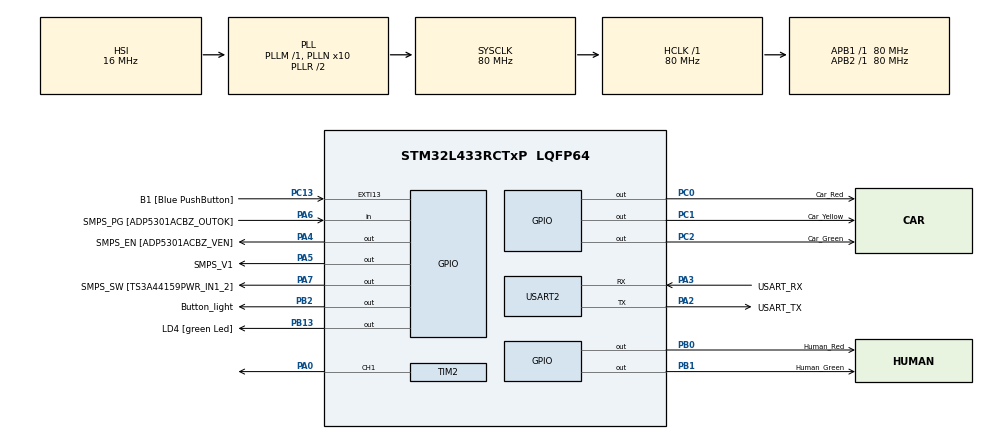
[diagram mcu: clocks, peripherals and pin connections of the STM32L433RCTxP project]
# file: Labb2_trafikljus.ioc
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Mcu.Family=STM32L4
Mcu.Name=STM32L433RCTxP
Mcu.Package=LQFP64
NVIC.EXTI15_10_IRQn=true\:0\:0\:false\:false\:true\:true\:true\:true
NVIC.PriorityGroup=NVIC_PRIORITYGROUP_4
PA0.Signal=S_TIM2_CH1
PA13\ (JTMS-SWDIO).GPIO_Label=TMS
PA13\ (JTMS-SWDIO).Mode=Serial_Wire
PA13\ (JTMS-SWDIO).Signal=SYS_JTMS-SWDIO
PA14\ (JTCK-SWCLK).GPIO_Label=TCK
PA14\ (JTCK-SWCLK).Mode=Serial_Wire
PA14\ (JTCK-SWCLK).Signal=SYS_JTCK-SWCLK
PA2.GPIO_Label=USART_TX
PA2.GPIO_Mode=GPIO_MODE_AF_PP
PA2.GPIO_PuPd=GPIO_NOPULL
PA2.GPIO_Speed=GPIO_SPEED_FREQ_VERY_HIGH
PA2.Mode=Asynchronous
PA2.Signal=USART2_TX
PA3.GPIO_Label=USART_RX
PA3.GPIO_Mode=GPIO_MODE_AF_PP
PA3.GPIO_PuPd=GPIO_NOPULL
PA3.GPIO_Speed=GPIO_SPEED_FREQ_VERY_HIGH
PA3.Mode=Asynchronous
PA3.Signal=USART2_RX
PA4.GPIO_Label=SMPS_EN [ADP5301ACBZ_VEN]
PA4.Signal=GPIO_Output
PA5.GPIO_Label=SMPS_V1
PA5.GPIO_ModeDefaultOutputPP=GPIO_MODE_OUTPUT_PP
PA5.GPIO_PuPd=GPIO_NOPULL
PA5.GPIO_Speed=GPIO_SPEED_FREQ_LOW
PA5.Signal=GPIO_Output
PA6.GPIO_Label=SMPS_PG [ADP5301ACBZ_OUTOK]
PA6.GPIO_PuPd=GPIO_PULLUP
PA6.Signal=GPIO_Input
PA7.GPIO_Label=SMPS_SW [TS3A44159PWR_IN1_2]
PA7.Signal=GPIO_Output
PB0.GPIO_Label=Human_Red
PB0.Signal=GPIO_Output
PB1.GPIO_Label=Human_Green
PB1.Signal=GPIO_Output
PB13.GPIO_Label=LD4 [green Led]
PB13.Signal=GPIO_Output
PB2.GPIO_Label=Button_light
PB2.Signal=GPIO_Output
PB3\ (JTDO-TRACESWO).GPIO_Label=SWO
PB3\ (JTDO-TRACESWO).Signal=SYS_JTDO-SWO
PC0.GPIO_Label=Car_Red
PC0.Signal=GPIO_Output
PC1.GPIO_Label=Car_Yellow
PC1.Signal=GPIO_Output
PC13.GPIO_Label=B1 [Blue PushButton]
PC13.GPIO_ModeDefaultEXTI=GPIO_MODE_IT_FALLING
PC13.GPIO_PuPd=GPIO_NOPULL
PC13.Signal=GPXTI13
PC14-OSC32_IN\ (PC14).Mode=LSE-External-Oscillator
PC14-OSC32_IN\ (PC14).Signal=RCC_OSC32_IN
PC15-OSC32_OUT\ (PC15).Mode=LSE-External-Oscillator
PC15-OSC32_OUT\ (PC15).Signal=RCC_OSC32_OUT
PC2.GPIO_Label=Car_Green
PC2.Signal=GPIO_Output
PH0-OSC_IN\ (PH0).GPIO_Label=MCO
PH0-OSC_IN\ (PH0).Mode=HSE-External-Clock-Source
PH0-OSC_IN\ (PH0).Signal=RCC_OSC_IN
PH1-OSC_OUT\ (PH1).Signal=RCC_OSC_OUT
ProjectManager.HeapSize=0x200
ProjectManager.StackSize=0x400
ProjectManager.TargetToolchain=STM32CubeIDE
RCC.ADCFreq_Value=64000000
RCC.AHBFreq_Value=80000000
RCC.APB1Freq_Value=80000000
RCC.APB1TimFreq_Value=80000000
RCC.APB2Freq_Value=80000000
RCC.APB2TimFreq_Value=80000000
RCC.CortexFreq_Value=80000000
RCC.HCLKFreq_Value=80000000
RCC.HSE_VALUE=8000000
RCC.HSI48_VALUE=48000000
RCC.HSI_VALUE=16000000
RCC.MSI_VALUE=4000000
RCC.PLLN=10
RCC.PLLSourceVirtual=RCC_PLLSOURCE_HSI
RCC.PREFETCH_ENABLE=1
RCC.SYSCLKFreq_VALUE=80000000
RCC.SYSCLKSource=RCC_SYSCLKSOURCE_PLLCLK
RCC.USBFreq_Value=64000000
RCC.VCOOutputFreq_Value=160000000
SH.S_TIM2_CH1.0=TIM2_CH1,PWM Generation1 CH1
TIM2.Channel-PWM\ Generation1\ CH1=TIM_CHANNEL_1
USART2.VirtualMode-Asynchronous=VM_ASYNC
VP_TIM2_VS_ClockSourceINT.Mode=Internal
board=NUCLEO-L433RC-P

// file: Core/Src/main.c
/* USER CODE BEGIN Header */
/**
 ******************************************************************************
 * @file           : main.c
 * @brief          : Main program body
 ******************************************************************************
 * @attention
 *
 * Copyright (c) 2025 STMicroelectronics.
 * All rights reserved.
 *
 * This software is licensed under terms that can be found in the LICENSE file
 * in the root directory of this software component.
 * If no LICENSE file comes with this software, it is provided AS-IS.
 *
 ******************************************************************************
 */
/* USER CODE END Header */
#include "main.h"

/* USER CODE BEGIN Includes */
#include "abuzz.h"
/* USER CODE END Includes */

/* USER CODE BEGIN PTD */
enum event {
	ev_none, ev_button_push, ev_state_timeout, ev_error = -99
};
#define EVQ_SIZE 10
enum event evq[ EVQ_SIZE ];
int evq_count = 0;
int evq_front_ix = 0;
int evq_rear_ix = 0;
enum state{
	s_init, s_car_go, s_pushed_wait, s_cars_stopping, s_all_stop,
	s_humans_go, s_stop_after_humans, s_start_go
};
/* USER CODE END PTD */

TIM_HandleTypeDef htim2;

UART_HandleTypeDef huart2;

void SystemClock_Config(void);
static void MX_GPIO_Init(void);
static void MX_USART2_UART_Init(void);
static void MX_TIM2_Init(void);
/* USER CODE BEGIN PFP */
uint32_t tick_left_in_state = 0;
void set_traffic_lights(enum state s){
	switch(s){
	case s_car_go:
		HAL_GPIO_WritePin(Car_Red_GPIO_Port, Car_Red_Pin, GPIO_PIN_RESET);
		HAL_GPIO_WritePin(Car_Yellow_GPIO_Port, Car_Yellow_Pin, GPIO_PIN_RESET);
		HAL_GPIO_WritePin(Car_Green_GPIO_Port, Car_Green_Pin, GPIO_PIN_SET);
		HAL_GPIO_WritePin(Human_Red_GPIO_Port, Car_Red_Pin, GPIO_PIN_SET);
		HAL_GPIO_WritePin(Human_Green_GPIO_Port, Human_Green_Pin, GPIO_PIN_RESET);
		break;
	case s_pushed_wait:
		HAL_GPIO_WritePin(Car_Red_GPIO_Port, Car_Red_Pin, GPIO_PIN_RESET);
		HAL_GPIO_WritePin(Car_Yellow_GPIO_Port, Car_Yellow_Pin, GPIO_PIN_RESET);
		HAL_GPIO_WritePin(Car_Green_GPIO_Port, Car_Green_Pin, GPIO_PIN_SET);
		HAL_GPIO_WritePin(Human_Red_GPIO_Port, Car_Red_Pin, GPIO_PIN_SET);
		HAL_GPIO_WritePin(Human_Green_GPIO_Port, Human_Green_Pin, GPIO_PIN_RESET);
		HAL_GPIO_WritePin(Button_light_GPIO_Port, Button_light_Pin, GPIO_PIN_SET);
		break;
	case s_cars_stopping:
		HAL_GPIO_WritePin(Car_Red_GPIO_Port, Car_Red_Pin, GPIO_PIN_RESET);
		HAL_GPIO_WritePin(Car_Yellow_GPIO_Port, Car_Yellow_Pin, GPIO_PIN_SET);
		HAL_GPIO_WritePin(Car_Green_GPIO_Port, Car_Green_Pin, GPIO_PIN_RESET);
		HAL_GPIO_WritePin(Human_Red_GPIO_Port, Car_Red_Pin, GPIO_PIN_SET);
		HAL_GPIO_WritePin(Human_Green_GPIO_Port, Human_Green_Pin, GPIO_PIN_RESET);
		break;
	case s_all_stop:
		HAL_GPIO_WritePin(Car_Red_GPIO_Port, Car_Red_Pin, GPIO_PIN_SET);
		HAL_GPIO_WritePin(Car_Yellow_GPIO_Port, Car_Yellow_Pin, GPIO_PIN_RESET);
		HAL_GPIO_WritePin(Car_Green_GPIO_Port, Car_Green_Pin, GPIO_PIN_RESET);
		HAL_GPIO_WritePin(Human_Red_GPIO_Port, Car_Red_Pin, GPIO_PIN_SET);
		HAL_GPIO_WritePin(Human_Green_GPIO_Port, Human_Green_Pin, GPIO_PIN_RESET);
		break;
	case s_humans_go:
		HAL_GPIO_WritePin(Car_Red_GPIO_Port, Car_Red_Pin, GPIO_PIN_SET);
		HAL_GPIO_WritePin(Car_Yellow_GPIO_Port, Car_Yellow_Pin, GPIO_PIN_RESET);
		HAL_GPIO_WritePin(Car_Green_GPIO_Port, Car_Green_Pin, GPIO_PIN_RESET);
		HAL_GPIO_WritePin(Human_Red_GPIO_Port, Car_Red_Pin, GPIO_PIN_RESET);
		HAL_GPIO_WritePin(Human_Green_GPIO_Port, Human_Green_Pin, GPIO_PIN_SET);
		HAL_GPIO_WritePin(Button_light_GPIO_Port, Button_light_Pin, GPIO_PIN_RESET);
		break;
	case s_stop_after_humans:
		HAL_GPIO_WritePin(Car_Red_GPIO_Port, Car_Red_Pin, GPIO_PIN_SET);
		HAL_GPIO_WritePin(Car_Yellow_GPIO_Port, Car_Yellow_Pin, GPIO_PIN_RESET);
		HAL_GPIO_WritePin(Car_Green_GPIO_Port, Car_Green_Pin, GPIO_PIN_RESET);
		HAL_GPIO_WritePin(Human_Red_GPIO_Port, Car_Red_Pin, GPIO_PIN_SET);
		HAL_GPIO_WritePin(Human_Green_GPIO_Port, Human_Green_Pin, GPIO_PIN_RESET);
		break;
	case s_start_go:
		HAL_GPIO_WritePin(Car_Red_GPIO_Port, Car_Red_Pin, GPIO_PIN_SET);
		HAL_GPIO_WritePin(Car_Yellow_GPIO_Port, Car_Yellow_Pin, GPIO_PIN_SET);
		HAL_GPIO_WritePin(Car_Green_GPIO_Port, Car_Green_Pin, GPIO_PIN_RESET);
		HAL_GPIO_WritePin(Human_Red_GPIO_Port, Car_Red_Pin, GPIO_PIN_SET);
		HAL_GPIO_WritePin(Human_Green_GPIO_Port, Human_Green_Pin, GPIO_PIN_RESET);
		break;
	case s_init:
		HAL_GPIO_WritePin(Car_Red_GPIO_Port, Car_Red_Pin, GPIO_PIN_SET);
		HAL_GPIO_WritePin(Car_Yellow_GPIO_Port, Car_Yellow_Pin, GPIO_PIN_SET);
		HAL_GPIO_WritePin(Car_Green_GPIO_Port, Car_Green_Pin, GPIO_PIN_SET);
		HAL_GPIO_WritePin(Human_Red_GPIO_Port, Car_Red_Pin, GPIO_PIN_SET);
		HAL_GPIO_WritePin(Human_Green_GPIO_Port, Human_Green_Pin, GPIO_PIN_SET);
		break;
	}
}

void evq_push_back(enum event e){
	if(evq_count < EVQ_SIZE){
		evq[evq_rear_ix] = e;
		evq_rear_ix ++ ;
		evq_rear_ix %= EVQ_SIZE;
		evq_count ++;
	}
}
enum event evq_pop_front(){
	enum event e = ev_none;
	if(evq_count > 0){
		e = evq[evq_front_ix];
		evq[evq_front_ix] = ev_error;
		evq_front_ix ++;
		evq_front_ix %= EVQ_SIZE;
		evq_count --;
	}
	return e;
}
void push_button_light_on(){
	HAL_GPIO_WritePin(Button_light_GPIO_Port, Button_light_Pin, GPIO_PIN_SET);
}
void push_button_light_off(){
	HAL_GPIO_WritePin(Button_light_GPIO_Port, Button_light_Pin, GPIO_PIN_RESET);
}
void HAL_GPIO_EXTI_Callback( uint16_t GPIO_Pin ){
	if(GPIO_Pin == GPIO_PIN_13){
		evq_push_back(ev_button_push);
	}
}
int systick_count = 0;
void my_systick_handler(){
	systick_count++;
	if (systick_count == 1000)
	{
		HAL_GPIO_TogglePin(LD4_GPIO_Port, LD4_Pin);
		systick_count = 0;
	}
	if (tick_left_in_state > 0)
	{
		tick_left_in_state--;
		if (tick_left_in_state == 0)
		{
			evq_push_back(ev_state_timeout);
		}
	}
}

/* USER CODE END PFP */

/* USER CODE BEGIN 0 */
int is_blue_button_pressed(){
	return (GPIOC->IDR & 0x2000) != 0;
}
/* USER CODE END 0 */

int main(void)
{

	/* MCU Configuration--------------------------------------------------------*/

	/* Reset of all peripherals, Initializes the Flash interface and the Systick. */
	HAL_Init();

	/* Configure the system clock */
	SystemClock_Config();

	/* Initialize all configured peripherals */
	MX_GPIO_Init();
	MX_USART2_UART_Init();
	MX_TIM2_Init();
	/* USER CODE BEGIN 2 */
	HAL_TIM_PWM_Start(&htim2, TIM_CHANNEL_1);
	set_traffic_lights(s_init);
	/* USER CODE END 2 */

	/* Infinite loop */
	/* USER CODE BEGIN WHILE */
	enum event ev = ev_none;
	enum state st = s_init;
/*	int curr_press = 0;
	int last_press = 0;
	uint32_t curr_tick = 0;
	uint32_t last_tick = 0;*/
	while (1){
#if 0
		ev = ev_none;
		curr_press = is_blue_button_pressed();
		if(curr_press && !last_press){
			ev = ev_button_push;
		}
		last_press = curr_press;

		curr_tick = HAL_GetTick();
		if (curr_tick != last_tick)
		{
			last_tick = curr_tick;

			if (tick_left_in_state > 0)
			{
				--tick_left_in_state;
				if (tick_left_in_state == 0)
				{
					ev = ev_state_timeout;
				}
			}
		}
		#else
			ev = evq_pop_front();
		switch (st)
		{
		case s_init:
			if (ev == ev_button_push)
			{
				ev = ev_state_timeout;
				tick_left_in_state = 10000;
				set_traffic_lights(s_all_stop);
				st = s_all_stop;
			}
			break;

		case s_car_go:
			if (ev == ev_button_push)
			{
				ev = ev_none;
				tick_left_in_state = 2000;
				set_traffic_lights(s_pushed_wait);
				st = s_pushed_wait;
				abuzz_start();
				abuzz_p_short();
			}
			break;

		case s_pushed_wait:
			if (ev == ev_state_timeout)
			{
				ev = ev_none;
				tick_left_in_state = 2000;
				set_traffic_lights(s_cars_stopping);
				st = s_cars_stopping;
			}
			break;

		case s_cars_stopping:
			if (ev == ev_state_timeout)
			{
				ev = ev_none;
				tick_left_in_state = 3000;
				set_traffic_lights(s_all_stop);
				st = s_all_stop;
			}
			break;

		case s_all_stop:
			if (ev == ev_state_timeout)
			{
				ev = ev_none;
				tick_left_in_state = 10000;
				set_traffic_lights(s_humans_go);
				st = s_humans_go;
				abuzz_stop();
			}
			break;

		case s_humans_go:
			if (ev == ev_state_timeout)
			{
				ev = ev_none;
				tick_left_in_state = 3000;
				set_traffic_lights(s_stop_after_humans);
				st = s_stop_after_humans;
			}
			break;

		case s_stop_after_humans:
			if (ev == ev_state_timeout)
			{
				ev = ev_none;
				tick_left_in_state = 2000;
				set_traffic_lights(s_start_go);
				st = s_start_go;
			}
			break;

		case s_start_go:
			if (ev == ev_state_timeout)
			{
				ev = ev_none;
				st =
						tick_left_in_state = 0;
				set_traffic_lights(s_car_go);
				st = s_car_go;
			}
			break;
		}
	}
#endif
	/* USER CODE END WHILE */

}

void SystemClock_Config(void)
{
	RCC_OscInitTypeDef RCC_OscInitStruct = {0};
	RCC_ClkInitTypeDef RCC_ClkInitStruct = {0};

	/** Configure the main internal regulator output voltage
	 */
	if (HAL_PWREx_ControlVoltageScaling(PWR_REGULATOR_VOLTAGE_SCALE1) != HAL_OK)
	{
		Error_Handler();
	}

	/** Initializes the RCC Oscillators according to the specified parameters
	 * in the RCC_OscInitTypeDef structure.
	 */
	RCC_OscInitStruct.OscillatorType = RCC_OSCILLATORTYPE_HSI;
	RCC_OscInitStruct.HSIState = RCC_HSI_ON;
	RCC_OscInitStruct.HSICalibrationValue = RCC_HSICALIBRATION_DEFAULT;
	RCC_OscInitStruct.PLL.PLLState = RCC_PLL_ON;
	RCC_OscInitStruct.PLL.PLLSource = RCC_PLLSOURCE_HSI;
	RCC_OscInitStruct.PLL.PLLM = 1;
	RCC_OscInitStruct.PLL.PLLN = 10;
	RCC_OscInitStruct.PLL.PLLP = RCC_PLLP_DIV7;
	RCC_OscInitStruct.PLL.PLLQ = RCC_PLLQ_DIV2;
	RCC_OscInitStruct.PLL.PLLR = RCC_PLLR_DIV2;
	if (HAL_RCC_OscConfig(&RCC_OscInitStruct) != HAL_OK)
	{
		Error_Handler();
	}

	/** Initializes the CPU, AHB and APB buses clocks
	 */
	RCC_ClkInitStruct.ClockType = RCC_CLOCKTYPE_HCLK|RCC_CLOCKTYPE_SYSCLK
			|RCC_CLOCKTYPE_PCLK1|RCC_CLOCKTYPE_PCLK2;
	RCC_ClkInitStruct.SYSCLKSource = RCC_SYSCLKSOURCE_PLLCLK;
	RCC_ClkInitStruct.AHBCLKDivider = RCC_SYSCLK_DIV1;
	RCC_ClkInitStruct.APB1CLKDivider = RCC_HCLK_DIV1;
	RCC_ClkInitStruct.APB2CLKDivider = RCC_HCLK_DIV1;

	if (HAL_RCC_ClockConfig(&RCC_ClkInitStruct, FLASH_LATENCY_4) != HAL_OK)
	{
		Error_Handler();
	}
}

static void MX_TIM2_Init(void)
{

	TIM_ClockConfigTypeDef sClockSourceConfig = {0};
	TIM_MasterConfigTypeDef sMasterConfig = {0};
	TIM_OC_InitTypeDef sConfigOC = {0};

	htim2.Instance = TIM2;
	htim2.Init.Prescaler = 0;
	htim2.Init.CounterMode = TIM_COUNTERMODE_UP;
	htim2.Init.Period = 4294967295;
	htim2.Init.ClockDivision = TIM_CLOCKDIVISION_DIV1;
	htim2.Init.AutoReloadPreload = TIM_AUTORELOAD_PRELOAD_DISABLE;
	if (HAL_TIM_Base_Init(&htim2) != HAL_OK)
	{
		Error_Handler();
	}
	sClockSourceConfig.ClockSource = TIM_CLOCKSOURCE_INTERNAL;
	if (HAL_TIM_ConfigClockSource(&htim2, &sClockSourceConfig) != HAL_OK)
	{
		Error_Handler();
	}
	if (HAL_TIM_PWM_Init(&htim2) != HAL_OK)
	{
		Error_Handler();
	}
	sMasterConfig.MasterOutputTrigger = TIM_TRGO_RESET;
	sMasterConfig.MasterSlaveMode = TIM_MASTERSLAVEMODE_DISABLE;
	if (HAL_TIMEx_MasterConfigSynchronization(&htim2, &sMasterConfig) != HAL_OK)
	{
		Error_Handler();
	}
	sConfigOC.OCMode = TIM_OCMODE_PWM1;
	sConfigOC.Pulse = 0;
	sConfigOC.OCPolarity = TIM_OCPOLARITY_HIGH;
	sConfigOC.OCFastMode = TIM_OCFAST_DISABLE;
	if (HAL_TIM_PWM_ConfigChannel(&htim2, &sConfigOC, TIM_CHANNEL_1) != HAL_OK)
	{
		Error_Handler();
	}
	HAL_TIM_MspPostInit(&htim2);

}

static void MX_USART2_UART_Init(void)
{

	huart2.Instance = USART2;
	huart2.Init.BaudRate = 115200;
	huart2.Init.WordLength = UART_WORDLENGTH_8B;
	huart2.Init.StopBits = UART_STOPBITS_1;
	huart2.Init.Parity = UART_PARITY_NONE;
	huart2.Init.Mode = UART_MODE_TX_RX;
	huart2.Init.HwFlowCtl = UART_HWCONTROL_NONE;
	huart2.Init.OverSampling = UART_OVERSAMPLING_16;
	huart2.Init.OneBitSampling = UART_ONE_BIT_SAMPLE_DISABLE;
	huart2.AdvancedInit.AdvFeatureInit = UART_ADVFEATURE_NO_INIT;
	if (HAL_UART_Init(&huart2) != HAL_OK)
	{
		Error_Handler();
	}

}

static void MX_GPIO_Init(void)
{
	GPIO_InitTypeDef GPIO_InitStruct = {0};

	/* GPIO Ports Clock Enable */
	__HAL_RCC_GPIOC_CLK_ENABLE();
	__HAL_RCC_GPIOH_CLK_ENABLE();
	__HAL_RCC_GPIOA_CLK_ENABLE();
	__HAL_RCC_GPIOB_CLK_ENABLE();

	/*Configure GPIO pin Output Level */
	HAL_GPIO_WritePin(GPIOC, Car_Red_Pin|Car_Yellow_Pin|Car_Green_Pin, GPIO_PIN_RESET);

	/*Configure GPIO pin Output Level */
	HAL_GPIO_WritePin(GPIOA, SMPS_EN_Pin|SMPS_V1_Pin|SMPS_SW_Pin, GPIO_PIN_RESET);

	/*Configure GPIO pin Output Level */
	HAL_GPIO_WritePin(GPIOB, Human_Red_Pin|Human_Green_Pin|Button_light_Pin|LD4_Pin, GPIO_PIN_RESET);

	/*Configure GPIO pin : B1_Pin */
	GPIO_InitStruct.Pin = B1_Pin;
	GPIO_InitStruct.Mode = GPIO_MODE_IT_FALLING;
	GPIO_InitStruct.Pull = GPIO_NOPULL;
	HAL_GPIO_Init(B1_GPIO_Port, &GPIO_InitStruct);

	/*Configure GPIO pins : Car_Red_Pin Car_Yellow_Pin Car_Green_Pin */
	GPIO_InitStruct.Pin = Car_Red_Pin|Car_Yellow_Pin|Car_Green_Pin;
	GPIO_InitStruct.Mode = GPIO_MODE_OUTPUT_PP;
	GPIO_InitStruct.Pull = GPIO_NOPULL;
	GPIO_InitStruct.Speed = GPIO_SPEED_FREQ_LOW;
	HAL_GPIO_Init(GPIOC, &GPIO_InitStruct);

	/*Configure GPIO pins : SMPS_EN_Pin SMPS_V1_Pin SMPS_SW_Pin */
	GPIO_InitStruct.Pin = SMPS_EN_Pin|SMPS_V1_Pin|SMPS_SW_Pin;
	GPIO_InitStruct.Mode = GPIO_MODE_OUTPUT_PP;
	GPIO_InitStruct.Pull = GPIO_NOPULL;
	GPIO_InitStruct.Speed = GPIO_SPEED_FREQ_LOW;
	HAL_GPIO_Init(GPIOA, &GPIO_InitStruct);

	/*Configure GPIO pin : SMPS_PG_Pin */
	GPIO_InitStruct.Pin = SMPS_PG_Pin;
	GPIO_InitStruct.Mode = GPIO_MODE_INPUT;
	GPIO_InitStruct.Pull = GPIO_PULLUP;
	HAL_GPIO_Init(SMPS_PG_GPIO_Port, &GPIO_InitStruct);

	/*Configure GPIO pins : Human_Red_Pin Human_Green_Pin Button_light_Pin LD4_Pin */
	GPIO_InitStruct.Pin = Human_Red_Pin|Human_Green_Pin|Button_light_Pin|LD4_Pin;
	GPIO_InitStruct.Mode = GPIO_MODE_OUTPUT_PP;
	GPIO_InitStruct.Pull = GPIO_NOPULL;
	GPIO_InitStruct.Speed = GPIO_SPEED_FREQ_LOW;
	HAL_GPIO_Init(GPIOB, &GPIO_InitStruct);

	/* EXTI interrupt init*/
	HAL_NVIC_SetPriority(EXTI15_10_IRQn, 0, 0);
	HAL_NVIC_EnableIRQ(EXTI15_10_IRQn);

}

void Error_Handler(void)
{
	__disable_irq();
	while (1)
	{
	}
}
